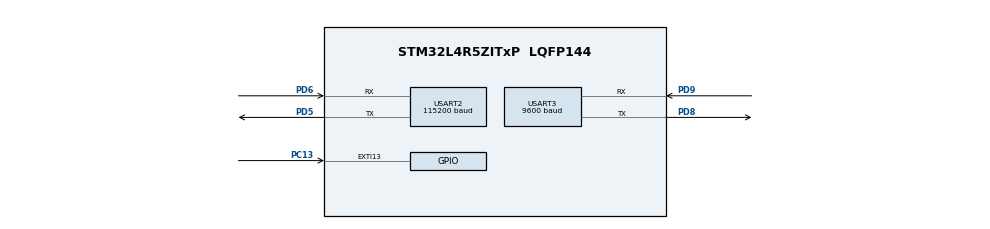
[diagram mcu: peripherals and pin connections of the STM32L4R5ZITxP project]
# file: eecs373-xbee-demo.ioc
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Mcu.Family=STM32L4
Mcu.Name=STM32L4R5ZITxP
Mcu.Package=LQFP144
NVIC.EXTI15_10_IRQn=true\:0\:0\:false\:false\:true\:true\:true\:true
NVIC.PriorityGroup=NVIC_PRIORITYGROUP_4
NVIC.USART2_IRQn=true\:0\:0\:false\:false\:true\:true\:true\:true
NVIC.USART3_IRQn=true\:0\:0\:false\:false\:true\:true\:true\:true
PA0.Signal=S_TIM2_CH1
PA10.Signal=USB_OTG_FS_ID
PA13\ (JTMS/SWDIO).Signal=SYS_JTMS-SWDIO
PA14\ (JTCK/SWCLK).Signal=SYS_JTCK-SWCLK
PA3.Signal=ADCx_IN8
PA4.Signal=SPI1_NSS
PA5.Signal=SPI1_SCK
PA6.Signal=SPI1_MISO
PA7.Signal=SPI1_MOSI
PA8.Signal=USB_OTG_FS_SOF
PA9.Signal=USB_OTG_FS_VBUS
PB0.Signal=S_TIM3_CH3
PB1.Signal=ADCx_IN16
PB10.Signal=S_TIM2_CH3
PB12.Signal=SAI2_FS_A
PB13.Signal=SAI2_SCK_A
PB14.Signal=S_TIM15_CH1
PB15.Signal=SAI2_SD_A
PB2.Signal=COMP1_INP
PB3\ (JTDO/TRACESWO).Signal=SPI3_SCK
PB4\ (NJTRST).Signal=SPI3_MISO
PB5.Signal=SPI3_MOSI
PB6.Signal=COMP2_INP
PB8.Signal=I2C1_SCL
PB9.Signal=I2C1_SDA
PC0.Signal=ADCx_IN1
PC1.Signal=ADCx_IN2
PC10.Signal=SDMMC1_D2
PC11.Signal=SDMMC1_D3
PC12.Signal=SDMMC1_CK
PC13.GPIO_ModeDefaultEXTI=GPIO_MODE_IT_RISING
PC13.Signal=GPXTI13
PC14-OSC32_IN\ (PC14).Signal=RCC_OSC32_IN
PC15-OSC32_OUT\ (PC15).Signal=RCC_OSC32_OUT
PC2.Signal=ADCx_IN3
PC3.Signal=ADCx_IN4
PC4.Signal=ADCx_IN13
PC5.Signal=ADCx_IN14
PC6.Signal=SAI2_MCLK_A
PC7.Signal=S_TIM3_CH2
PC8.Signal=SDMMC1_D0
PC9.Signal=SDMMC1_D1
PD0.Signal=CAN1_RX
PD14.Signal=S_TIM4_CH3
PD15.Signal=S_TIM4_CH4
PD2.Signal=SDMMC1_CMD
PD3.Signal=USART2_CTS
PD4.Signal=USART2_RTS
PD5.Mode=Asynchronous
PD5.Signal=USART2_TX
PD6.Mode=Asynchronous
PD6.Signal=USART2_RX
PD8.Mode=Asynchronous
PD8.Signal=USART3_TX
PD9.Mode=Asynchronous
PD9.Signal=USART3_RX
PE0.Signal=S_TIM4_ETR
PE10.Signal=TIM1_CH2N
PE11.Signal=S_TIM1_CH2
PE12.Signal=TIM1_CH3N
PE13.Signal=S_TIM1_CH3
PE14.Signal=TIM1_BKIN2
PE15.Signal=TIM1_BKIN
PE2.Signal=SAI1_MCLK_A
PE3.Signal=SAI1_SD_B
PE7.Signal=S_TIM1_ETR
PE8.Signal=TIM1_CH1N
PE9.Signal=S_TIM1_CH1
PF0.Signal=I2C2_SDA
PF1.Signal=I2C2_SCL
PF2.Signal=I2C2_SMBA
PF7.Signal=SAI1_MCLK_B
PG7.Signal=LPUART1_TX
PG8.Signal=LPUART1_RX
PH0-OSC_IN\ (PH0).Signal=RCC_OSC_IN
PH1-OSC_OUT\ (PH1).Signal=RCC_OSC_OUT
ProjectManager.HeapSize=0x200
ProjectManager.StackSize=0x400
ProjectManager.TargetToolchain=STM32CubeIDE
RCC.HSE_VALUE=8000000
RCC.HSI48_VALUE=48000000
RCC.HSI_VALUE=16000000
RCC.LSE_VALUE=32768
RCC.MSI_VALUE=4000000
RCC.VCOOutputFreq_Value=32000000
SH.ADCx_IN1.0=ADC1_IN1
SH.ADCx_IN13.0=ADC1_IN13
SH.ADCx_IN14.0=ADC1_IN14
SH.ADCx_IN16.0=ADC1_IN16
SH.ADCx_IN2.0=ADC1_IN2
SH.ADCx_IN3.0=ADC1_IN3
SH.ADCx_IN4.0=ADC1_IN4
SH.ADCx_IN8.0=ADC1_IN8
SH.S_TIM15_CH1.0=TIM15_CH1
SH.S_TIM1_CH1.0=TIM1_CH1
SH.S_TIM1_CH2.0=TIM1_CH2
SH.S_TIM1_CH3.0=TIM1_CH3
SH.S_TIM1_ETR.0=TIM1_ETR
SH.S_TIM2_CH1.0=TIM2_CH1
SH.S_TIM2_CH3.0=TIM2_CH3
SH.S_TIM3_CH2.0=TIM3_CH2
SH.S_TIM3_CH3.0=TIM3_CH3
SH.S_TIM4_CH3.0=TIM4_CH3
SH.S_TIM4_CH4.0=TIM4_CH4
SH.S_TIM4_ETR.0=TIM4_ETR
USART2.BaudRate=115200
USART2.VirtualMode-Asynchronous=VM_ASYNC
USART3.BaudRate=9600
USART3.VirtualMode-Asynchronous=VM_ASYNC
board=NUCLEO-L4R5ZI-P

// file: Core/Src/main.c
/* USER CODE BEGIN Header */
/**
  ******************************************************************************
  * @file           : main.c
  * @brief          : Main program body
  ******************************************************************************
  * @attention
  *
  * Copyright (c) 2024 STMicroelectronics.
  * All rights reserved.
  *
  * This software is licensed under terms that can be found in the LICENSE file
  * in the root directory of this software component.
  * If no LICENSE file comes with this software, it is provided AS-IS.
  *
  ******************************************************************************
  */
/* USER CODE END Header */
#include "main.h"
/* USER CODE BEGIN Includes */
#include <stdio.h>
#include <string.h>
/* USER CODE END Includes */

UART_HandleTypeDef huart2;
UART_HandleTypeDef huart3;

void SystemClock_Config(void);
static void MX_GPIO_Init(void);
static void MX_USART3_UART_Init(void);
static void MX_USART2_UART_Init(void);

/* USER CODE BEGIN 0 */

//volatile uint8_t rx_buf[100] = { 0 };

#define XBEE1_ADDR &huart3

typedef struct xbee_frame_header {
	uint8_t start_delim;
	uint16_t length;
	uint8_t frame_type;
	uint8_t frame_id;
	uint16_t dest_addr;
	uint8_t options;
} xbee_frame_header_t;

void xbee_send_two_bytes(uint8_t *data, uint8_t *dest) {
	uint8_t checksum = 0xFF;
	xbee_frame_header_t header = {
			.start_delim = 0x7E,
			.length = 7, // num bytes between length and checksum
			.frame_type = 0x01, // 16-bit transmit request
			.frame_id = 0x00, // device will not emit a response frame
			.dest_addr = 0xD161, // broadcast address
			.options = 0, // no options set
	};
	checksum -= (header.frame_type + header.frame_id + dest[0] + dest[1] + data[0] + data[1]);
	uint8_t buf[] = {header.start_delim,
					 0,
					 header.length,
					 header.frame_type,
					 header.frame_id,
					 dest[0], // dest_addr high bits
					 dest[1], // dest_addr low bits
					 header.options,
					 data[0],
					 data[1],
					 checksum,
	};
	HAL_UART_Transmit(XBEE1_ADDR, buf, 11, 10000); // header + 2 data bytes + 1 checksum byte
}

char wifi_buf[32];
void HAL_UART_RxCpltCallback(UART_HandleTypeDef *huart)
{
//  static int index = 0;
//  if (huart == &huart3) {
//	  HAL_UART_Receive_IT(&huart3, rx_buf, 11);
//  }
  if (huart == &huart2) {
	  if (!strcmp(wifi_buf, "unlock_box_\r\n")) {
		  uint8_t data = {0x01, 0x00};
		  uint8_t dest = {0x11, 0x11};
		  xbee_send_two_bytes(data, dest);
		  __NOP(); // breakpoint
	  }
	  if (!strcmp(wifi_buf, "lock_box___\r\n")) {
		  uint8_t data = {0x01, 0x00};
		  uint8_t dest = {0x11, 0x11};
		  xbee_send_two_bytes(data, dest);
		  __NOP();
	  }
	  HAL_UART_Receive_IT(&huart2, wifi_buf, 13); // 11 chars plus \0\r\nnull terminator for strcmp
  }
}

void HAL_GPIO_EXTI_Callback(uint16_t GPIO_Pin) {
	// this will trigger on blue push button (PC13)
	uint8_t data[2] = {0x56, 0x78};
	uint8_t dest[2] = {0x11, 0x11};
	xbee_send_two_bytes(data, dest);
}

/* USER CODE END 0 */

int main(void)
{

  /* MCU Configuration--------------------------------------------------------*/

  /* Reset of all peripherals, Initializes the Flash interface and the Systick. */
  HAL_Init();

  /* Configure the system clock */
  SystemClock_Config();

  /* Initialize all configured peripherals */
  MX_GPIO_Init();
  MX_USART3_UART_Init();
  MX_USART2_UART_Init();
  /* USER CODE BEGIN 2 */

//  HAL_UART_Receive_IT(&huart2, rx_buf, 1);

  HAL_UART_Receive_IT(&huart2, wifi_buf, 13);
//  HAL_UART_Receive_IT(&huart3, rx_buf, 11);

  /* USER CODE END 2 */

  /* Infinite loop */
  while (1)
  {

    /* USER CODE BEGIN 3 */
//	  ESP8266_SendData("Hello World!");
	  //HAL_UART_Receive(&huart3, buf, 8, 100000); // ==HAL_OK
  }
  /* USER CODE END 3 */
}

void SystemClock_Config(void)
{
  RCC_OscInitTypeDef RCC_OscInitStruct = {0};
  RCC_ClkInitTypeDef RCC_ClkInitStruct = {0};

  /** Configure the main internal regulator output voltage
  */
  if (HAL_PWREx_ControlVoltageScaling(PWR_REGULATOR_VOLTAGE_SCALE1) != HAL_OK)
  {
    Error_Handler();
  }

  /** Initializes the RCC Oscillators according to the specified parameters
  * in the RCC_OscInitTypeDef structure.
  */
  RCC_OscInitStruct.OscillatorType = RCC_OSCILLATORTYPE_MSI;
  RCC_OscInitStruct.MSIState = RCC_MSI_ON;
  RCC_OscInitStruct.MSICalibrationValue = 0;
  RCC_OscInitStruct.MSIClockRange = RCC_MSIRANGE_6;
  RCC_OscInitStruct.PLL.PLLState = RCC_PLL_NONE;
  if (HAL_RCC_OscConfig(&RCC_OscInitStruct) != HAL_OK)
  {
    Error_Handler();
  }

  /** Initializes the CPU, AHB and APB buses clocks
  */
  RCC_ClkInitStruct.ClockType = RCC_CLOCKTYPE_HCLK|RCC_CLOCKTYPE_SYSCLK
                              |RCC_CLOCKTYPE_PCLK1|RCC_CLOCKTYPE_PCLK2;
  RCC_ClkInitStruct.SYSCLKSource = RCC_SYSCLKSOURCE_MSI;
  RCC_ClkInitStruct.AHBCLKDivider = RCC_SYSCLK_DIV1;
  RCC_ClkInitStruct.APB1CLKDivider = RCC_HCLK_DIV1;
  RCC_ClkInitStruct.APB2CLKDivider = RCC_HCLK_DIV1;

  if (HAL_RCC_ClockConfig(&RCC_ClkInitStruct, FLASH_LATENCY_0) != HAL_OK)
  {
    Error_Handler();
  }
}

static void MX_USART2_UART_Init(void)
{

  huart2.Instance = USART2;
  huart2.Init.BaudRate = 115200;
  huart2.Init.WordLength = UART_WORDLENGTH_8B;
  huart2.Init.StopBits = UART_STOPBITS_1;
  huart2.Init.Parity = UART_PARITY_NONE;
  huart2.Init.Mode = UART_MODE_TX_RX;
  huart2.Init.HwFlowCtl = UART_HWCONTROL_NONE;
  huart2.Init.OverSampling = UART_OVERSAMPLING_16;
  huart2.Init.OneBitSampling = UART_ONE_BIT_SAMPLE_DISABLE;
  huart2.Init.ClockPrescaler = UART_PRESCALER_DIV1;
  huart2.AdvancedInit.AdvFeatureInit = UART_ADVFEATURE_NO_INIT;
  if (HAL_UART_Init(&huart2) != HAL_OK)
  {
    Error_Handler();
  }
  if (HAL_UARTEx_SetTxFifoThreshold(&huart2, UART_TXFIFO_THRESHOLD_1_8) != HAL_OK)
  {
    Error_Handler();
  }
  if (HAL_UARTEx_SetRxFifoThreshold(&huart2, UART_RXFIFO_THRESHOLD_1_8) != HAL_OK)
  {
    Error_Handler();
  }
  if (HAL_UARTEx_DisableFifoMode(&huart2) != HAL_OK)
  {
    Error_Handler();
  }

}

static void MX_USART3_UART_Init(void)
{

  huart3.Instance = USART3;
  huart3.Init.BaudRate = 9600;
  huart3.Init.WordLength = UART_WORDLENGTH_8B;
  huart3.Init.StopBits = UART_STOPBITS_1;
  huart3.Init.Parity = UART_PARITY_NONE;
  huart3.Init.Mode = UART_MODE_TX_RX;
  huart3.Init.HwFlowCtl = UART_HWCONTROL_NONE;
  huart3.Init.OverSampling = UART_OVERSAMPLING_16;
  huart3.Init.OneBitSampling = UART_ONE_BIT_SAMPLE_DISABLE;
  huart3.Init.ClockPrescaler = UART_PRESCALER_DIV1;
  huart3.AdvancedInit.AdvFeatureInit = UART_ADVFEATURE_NO_INIT;
  if (HAL_UART_Init(&huart3) != HAL_OK)
  {
    Error_Handler();
  }
  if (HAL_UARTEx_SetTxFifoThreshold(&huart3, UART_TXFIFO_THRESHOLD_1_8) != HAL_OK)
  {
    Error_Handler();
  }
  if (HAL_UARTEx_SetRxFifoThreshold(&huart3, UART_RXFIFO_THRESHOLD_1_8) != HAL_OK)
  {
    Error_Handler();
  }
  if (HAL_UARTEx_DisableFifoMode(&huart3) != HAL_OK)
  {
    Error_Handler();
  }

}

static void MX_GPIO_Init(void)
{
  GPIO_InitTypeDef GPIO_InitStruct = {0};

  /* GPIO Ports Clock Enable */
  __HAL_RCC_GPIOE_CLK_ENABLE();
  __HAL_RCC_GPIOC_CLK_ENABLE();
  __HAL_RCC_GPIOF_CLK_ENABLE();
  __HAL_RCC_GPIOH_CLK_ENABLE();
  __HAL_RCC_GPIOA_CLK_ENABLE();
  __HAL_RCC_GPIOB_CLK_ENABLE();
  __HAL_RCC_GPIOD_CLK_ENABLE();
  __HAL_RCC_GPIOG_CLK_ENABLE();
  HAL_PWREx_EnableVddIO2();

  /*Configure GPIO pins : PE2 PE3 */
  GPIO_InitStruct.Pin = GPIO_PIN_2|GPIO_PIN_3;
  GPIO_InitStruct.Mode = GPIO_MODE_AF_PP;
  GPIO_InitStruct.Pull = GPIO_NOPULL;
  GPIO_InitStruct.Speed = GPIO_SPEED_FREQ_LOW;
  GPIO_InitStruct.Alternate = GPIO_AF13_SAI1;
  HAL_GPIO_Init(GPIOE, &GPIO_InitStruct);

  /*Configure GPIO pin : PC13 */
  GPIO_InitStruct.Pin = GPIO_PIN_13;
  GPIO_InitStruct.Mode = GPIO_MODE_IT_RISING;
  GPIO_InitStruct.Pull = GPIO_NOPULL;
  HAL_GPIO_Init(GPIOC, &GPIO_InitStruct);

  /*Configure GPIO pins : PF0 PF1 PF2 */
  GPIO_InitStruct.Pin = GPIO_PIN_0|GPIO_PIN_1|GPIO_PIN_2;
  GPIO_InitStruct.Mode = GPIO_MODE_AF_OD;
  GPIO_InitStruct.Pull = GPIO_NOPULL;
  GPIO_InitStruct.Speed = GPIO_SPEED_FREQ_VERY_HIGH;
  GPIO_InitStruct.Alternate = GPIO_AF4_I2C2;
  HAL_GPIO_Init(GPIOF, &GPIO_InitStruct);

  /*Configure GPIO pin : PF7 */
  GPIO_InitStruct.Pin = GPIO_PIN_7;
  GPIO_InitStruct.Mode = GPIO_MODE_AF_PP;
  GPIO_InitStruct.Pull = GPIO_NOPULL;
  GPIO_InitStruct.Speed = GPIO_SPEED_FREQ_LOW;
  GPIO_InitStruct.Alternate = GPIO_AF13_SAI1;
  HAL_GPIO_Init(GPIOF, &GPIO_InitStruct);

  /*Configure GPIO pins : PC0 PC1 PC2 PC3
                           PC4 PC5 */
  GPIO_InitStruct.Pin = GPIO_PIN_0|GPIO_PIN_1|GPIO_PIN_2|GPIO_PIN_3
                          |GPIO_PIN_4|GPIO_PIN_5;
  GPIO_InitStruct.Mode = GPIO_MODE_ANALOG_ADC_CONTROL;
  GPIO_InitStruct.Pull = GPIO_NOPULL;
  HAL_GPIO_Init(GPIOC, &GPIO_InitStruct);

  /*Configure GPIO pin : PA0 */
  GPIO_InitStruct.Pin = GPIO_PIN_0;
  GPIO_InitStruct.Mode = GPIO_MODE_AF_PP;
  GPIO_InitStruct.Pull = GPIO_NOPULL;
  GPIO_InitStruct.Speed = GPIO_SPEED_FREQ_LOW;
  GPIO_InitStruct.Alternate = GPIO_AF1_TIM2;
  HAL_GPIO_Init(GPIOA, &GPIO_InitStruct);

  /*Configure GPIO pin : PA3 */
  GPIO_InitStruct.Pin = GPIO_PIN_3;
  GPIO_InitStruct.Mode = GPIO_MODE_ANALOG_ADC_CONTROL;
  GPIO_InitStruct.Pull = GPIO_NOPULL;
  HAL_GPIO_Init(GPIOA, &GPIO_InitStruct);

  /*Configure GPIO pins : PA4 PA5 PA6 PA7 */
  GPIO_InitStruct.Pin = GPIO_PIN_4|GPIO_PIN_5|GPIO_PIN_6|GPIO_PIN_7;
  GPIO_InitStruct.Mode = GPIO_MODE_AF_PP;
  GPIO_InitStruct.Pull = GPIO_NOPULL;
  GPIO_InitStruct.Speed = GPIO_SPEED_FREQ_VERY_HIGH;
  GPIO_InitStruct.Alternate = GPIO_AF5_SPI1;
  HAL_GPIO_Init(GPIOA, &GPIO_InitStruct);

  /*Configure GPIO pin : PB0 */
  GPIO_InitStruct.Pin = GPIO_PIN_0;
  GPIO_InitStruct.Mode = GPIO_MODE_AF_PP;
  GPIO_InitStruct.Pull = GPIO_NOPULL;
  GPIO_InitStruct.Speed = GPIO_SPEED_FREQ_LOW;
  GPIO_InitStruct.Alternate = GPIO_AF2_TIM3;
  HAL_GPIO_Init(GPIOB, &GPIO_InitStruct);

  /*Configure GPIO pin : PB1 */
  GPIO_InitStruct.Pin = GPIO_PIN_1;
  GPIO_InitStruct.Mode = GPIO_MODE_ANALOG_ADC_CONTROL;
  GPIO_InitStruct.Pull = GPIO_NOPULL;
  HAL_GPIO_Init(GPIOB, &GPIO_InitStruct);

  /*Configure GPIO pins : PB2 PB6 */
  GPIO_InitStruct.Pin = GPIO_PIN_2|GPIO_PIN_6;
  GPIO_InitStruct.Mode = GPIO_MODE_ANALOG;
  GPIO_InitStruct.Pull = GPIO_NOPULL;
  HAL_GPIO_Init(GPIOB, &GPIO_InitStruct);

  /*Configure GPIO pins : PE7 PE8 PE9 PE10
                           PE11 PE12 PE13 */
  GPIO_InitStruct.Pin = GPIO_PIN_7|GPIO_PIN_8|GPIO_PIN_9|GPIO_PIN_10
                          |GPIO_PIN_11|GPIO_PIN_12|GPIO_PIN_13;
  GPIO_InitStruct.Mode = GPIO_MODE_AF_PP;
  GPIO_InitStruct.Pull = GPIO_NOPULL;
  GPIO_InitStruct.Speed = GPIO_SPEED_FREQ_LOW;
  GPIO_InitStruct.Alternate = GPIO_AF1_TIM1;
  HAL_GPIO_Init(GPIOE, &GPIO_InitStruct);

  /*Configure GPIO pins : PE14 PE15 */
  GPIO_InitStruct.Pin = GPIO_PIN_14|GPIO_PIN_15;
  GPIO_InitStruct.Mode = GPIO_MODE_AF_PP;
  GPIO_InitStruct.Pull = GPIO_NOPULL;
  GPIO_InitStruct.Speed = GPIO_SPEED_FREQ_LOW;
  GPIO_InitStruct.Alternate = GPIO_AF3_TIM1_COMP1;
  HAL_GPIO_Init(GPIOE, &GPIO_InitStruct);

  /*Configure GPIO pin : PB10 */
  GPIO_InitStruct.Pin = GPIO_PIN_10;
  GPIO_InitStruct.Mode = GPIO_MODE_AF_PP;
  GPIO_InitStruct.Pull = GPIO_NOPULL;
  GPIO_InitStruct.Speed = GPIO_SPEED_FREQ_LOW;
  GPIO_InitStruct.Alternate = GPIO_AF1_TIM2;
  HAL_GPIO_Init(GPIOB, &GPIO_InitStruct);

  /*Configure GPIO pins : PB12 PB13 PB15 */
  GPIO_InitStruct.Pin = GPIO_PIN_12|GPIO_PIN_13|GPIO_PIN_15;
  GPIO_InitStruct.Mode = GPIO_MODE_AF_PP;
  GPIO_InitStruct.Pull = GPIO_NOPULL;
  GPIO_InitStruct.Speed = GPIO_SPEED_FREQ_LOW;
  GPIO_InitStruct.Alternate = GPIO_AF13_SAI2;
  HAL_GPIO_Init(GPIOB, &GPIO_InitStruct);

  /*Configure GPIO pin : PB14 */
  GPIO_InitStruct.Pin = GPIO_PIN_14;
  GPIO_InitStruct.Mode = GPIO_MODE_AF_PP;
  GPIO_InitStruct.Pull = GPIO_NOPULL;
  GPIO_InitStruct.Speed = GPIO_SPEED_FREQ_LOW;
  GPIO_InitStruct.Alternate = GPIO_AF14_TIM15;
  HAL_GPIO_Init(GPIOB, &GPIO_InitStruct);

  /*Configure GPIO pins : PD14 PD15 */
  GPIO_InitStruct.Pin = GPIO_PIN_14|GPIO_PIN_15;
  GPIO_InitStruct.Mode = GPIO_MODE_AF_PP;
  GPIO_InitStruct.Pull = GPIO_NOPULL;
  GPIO_InitStruct.Speed = GPIO_SPEED_FREQ_LOW;
  GPIO_InitStruct.Alternate = GPIO_AF2_TIM4;
  HAL_GPIO_Init(GPIOD, &GPIO_InitStruct);

  /*Configure GPIO pins : PG7 PG8 */
  GPIO_InitStruct.Pin = GPIO_PIN_7|GPIO_PIN_8;
  GPIO_InitStruct.Mode = GPIO_MODE_AF_PP;
  GPIO_InitStruct.Pull = GPIO_NOPULL;
  GPIO_InitStruct.Speed = GPIO_SPEED_FREQ_VERY_HIGH;
  GPIO_InitStruct.Alternate = GPIO_AF8_LPUART1;
  HAL_GPIO_Init(GPIOG, &GPIO_InitStruct);

  /*Configure GPIO pin : PC6 */
  GPIO_InitStruct.Pin = GPIO_PIN_6;
  GPIO_InitStruct.Mode = GPIO_MODE_AF_PP;
  GPIO_InitStruct.Pull = GPIO_NOPULL;
  GPIO_InitStruct.Speed = GPIO_SPEED_FREQ_LOW;
  GPIO_InitStruct.Alternate = GPIO_AF13_SAI2;
  HAL_GPIO_Init(GPIOC, &GPIO_InitStruct);

  /*Configure GPIO pin : PC7 */
  GPIO_InitStruct.Pin = GPIO_PIN_7;
  GPIO_InitStruct.Mode = GPIO_MODE_AF_PP;
  GPIO_InitStruct.Pull = GPIO_NOPULL;
  GPIO_InitStruct.Speed = GPIO_SPEED_FREQ_LOW;
  GPIO_InitStruct.Alternate = GPIO_AF2_TIM3;
  HAL_GPIO_Init(GPIOC, &GPIO_InitStruct);

  /*Configure GPIO pins : PC8 PC9 PC10 PC11
                           PC12 */
  GPIO_InitStruct.Pin = GPIO_PIN_8|GPIO_PIN_9|GPIO_PIN_10|GPIO_PIN_11
                          |GPIO_PIN_12;
  GPIO_InitStruct.Mode = GPIO_MODE_AF_PP;
  GPIO_InitStruct.Pull = GPIO_NOPULL;
  GPIO_InitStruct.Speed = GPIO_SPEED_FREQ_VERY_HIGH;
  GPIO_InitStruct.Alternate = GPIO_AF12_SDMMC1;
  HAL_GPIO_Init(GPIOC, &GPIO_InitStruct);

  /*Configure GPIO pins : PA8 PA10 */
  GPIO_InitStruct.Pin = GPIO_PIN_8|GPIO_PIN_10;
  GPIO_InitStruct.Mode = GPIO_MODE_AF_PP;
  GPIO_InitStruct.Pull = GPIO_NOPULL;
  GPIO_InitStruct.Speed = GPIO_SPEED_FREQ_VERY_HIGH;
  GPIO_InitStruct.Alternate = GPIO_AF10_OTG_FS;
  HAL_GPIO_Init(GPIOA, &GPIO_InitStruct);

  /*Configure GPIO pin : PA9 */
  GPIO_InitStruct.Pin = GPIO_PIN_9;
  GPIO_InitStruct.Mode = GPIO_MODE_INPUT;
  GPIO_InitStruct.Pull = GPIO_NOPULL;
  HAL_GPIO_Init(GPIOA, &GPIO_InitStruct);

  /*Configure GPIO pin : PD0 */
  GPIO_InitStruct.Pin = GPIO_PIN_0;
  GPIO_InitStruct.Mode = GPIO_MODE_AF_PP;
  GPIO_InitStruct.Pull = GPIO_NOPULL;
  GPIO_InitStruct.Speed = GPIO_SPEED_FREQ_VERY_HIGH;
  GPIO_InitStruct.Alternate = GPIO_AF9_CAN1;
  HAL_GPIO_Init(GPIOD, &GPIO_InitStruct);

  /*Configure GPIO pin : PD2 */
  GPIO_InitStruct.Pin = GPIO_PIN_2;
  GPIO_InitStruct.Mode = GPIO_MODE_AF_PP;
  GPIO_InitStruct.Pull = GPIO_NOPULL;
  GPIO_InitStruct.Speed = GPIO_SPEED_FREQ_VERY_HIGH;
  GPIO_InitStruct.Alternate = GPIO_AF12_SDMMC1;
  HAL_GPIO_Init(GPIOD, &GPIO_InitStruct);

  /*Configure GPIO pins : PB3 PB4 PB5 */
  GPIO_InitStruct.Pin = GPIO_PIN_3|GPIO_PIN_4|GPIO_PIN_5;
  GPIO_InitStruct.Mode = GPIO_MODE_AF_PP;
  GPIO_InitStruct.Pull = GPIO_NOPULL;
  GPIO_InitStruct.Speed = GPIO_SPEED_FREQ_VERY_HIGH;
  GPIO_InitStruct.Alternate = GPIO_AF6_SPI3;
  HAL_GPIO_Init(GPIOB, &GPIO_InitStruct);

  /*Configure GPIO pins : PB8 PB9 */
  GPIO_InitStruct.Pin = GPIO_PIN_8|GPIO_PIN_9;
  GPIO_InitStruct.Mode = GPIO_MODE_AF_OD;
  GPIO_InitStruct.Pull = GPIO_NOPULL;
  GPIO_InitStruct.Speed = GPIO_SPEED_FREQ_VERY_HIGH;
  GPIO_InitStruct.Alternate = GPIO_AF4_I2C1;
  HAL_GPIO_Init(GPIOB, &GPIO_InitStruct);

  /*Configure GPIO pin : PE0 */
  GPIO_InitStruct.Pin = GPIO_PIN_0;
  GPIO_InitStruct.Mode = GPIO_MODE_AF_PP;
  GPIO_InitStruct.Pull = GPIO_NOPULL;
  GPIO_InitStruct.Speed = GPIO_SPEED_FREQ_LOW;
  GPIO_InitStruct.Alternate = GPIO_AF2_TIM4;
  HAL_GPIO_Init(GPIOE, &GPIO_InitStruct);

  /* EXTI interrupt init*/
  HAL_NVIC_SetPriority(EXTI15_10_IRQn, 0, 0);
  HAL_NVIC_EnableIRQ(EXTI15_10_IRQn);

}

void Error_Handler(void)
{
  __disable_irq();
  while (1)
  {
  }
}
